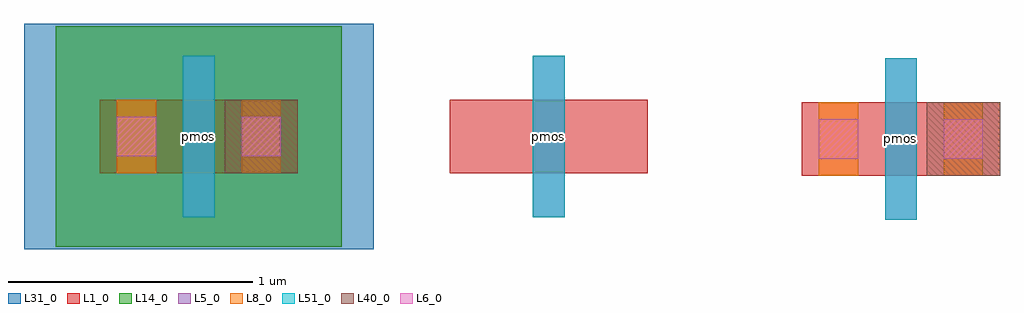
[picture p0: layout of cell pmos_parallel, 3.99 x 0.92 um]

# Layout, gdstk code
import gdstk
lib = gdstk.Library(unit=1e-6, precision=5e-09)
def R(c, l, rs):  # rectangles x0, y0, x1, y1
    for r in rs: c.add(gdstk.rectangle(r[:2], r[2:], *l))
L1_0 = (1, 0)
L5_0 = (5, 0)
L6_0 = (6, 0)
L8_0 = (8, 0)
L14_0 = (14, 0)
L31_0 = (31, 0)
L40_0 = (40, 0)
L51_0 = (51, 0)

pmos_parallel = lib.new_cell('pmos_parallel')
R(pmos_parallel, L1_0, [(3.18,0.3,3.99,0.6), (3.18,0.3,3.48,0.6), (3.69,0.3,3.99,0.6), (0.31,0.31,1.12,0.61), (0.31,0.31,0.61,0.61), (0.82,0.31,1.12,0.61), (1.74,0.31,2.55,0.61)])
R(pmos_parallel, L5_0, [(3.52,0.12,3.65,0.78), (3.52,0.12,3.65,0.78), (0.65,0.13,0.78,0.79), (0.65,0.13,0.78,0.79), (2.08,0.13,2.21,0.79), (2.08,0.13,2.21,0.79)])
R(pmos_parallel, L6_0, [(3.25,0.37,3.41,0.53), (3.76,0.37,3.92,0.53), (0.38,0.38,0.54,0.54), (0.89,0.38,1.05,0.54)])
R(pmos_parallel, L8_0, [(3.25,0.3,3.41,0.6), (3.25,0.3,3.41,0.6), (3.76,0.3,3.92,0.6), (3.76,0.3,3.92,0.6), (0.38,0.31,0.54,0.61), (0.38,0.31,0.54,0.61), (0.89,0.31,1.05,0.61), (0.89,0.31,1.05,0.61)])
R(pmos_parallel, L14_0, [(0.13,0.01,1.3,0.91)])
R(pmos_parallel, L31_0, [(0,0,1.43,0.92)])
R(pmos_parallel, L40_0, [(3.69,0.3,3.99,0.6), (0.82,0.31,1.12,0.61)])
R(pmos_parallel, L51_0, [(3.52,0.12,3.65,0.78), (0.65,0.13,0.78,0.79), (2.08,0.13,2.21,0.79)])
pmos_parallel.add(gdstk.Label('pmos', (2.145,0.46), layer=63, texttype=0))
pmos_parallel.add(gdstk.Label('pmos', (3.585,0.45), layer=63, texttype=0))
pmos_parallel.add(gdstk.Label('pmos', (0.715,0.46), layer=63, texttype=0))
pmos_parallel.add(gdstk.Label('pmos', (2.145,0.46), layer=51, texttype=0))
pmos_parallel.add(gdstk.Label('pmos', (3.585,0.45), layer=51, texttype=0))
pmos_parallel.add(gdstk.Label('pmos', (0.715,0.46), layer=51, texttype=0))

lib.write_gds('pmos_parallel.gds')
